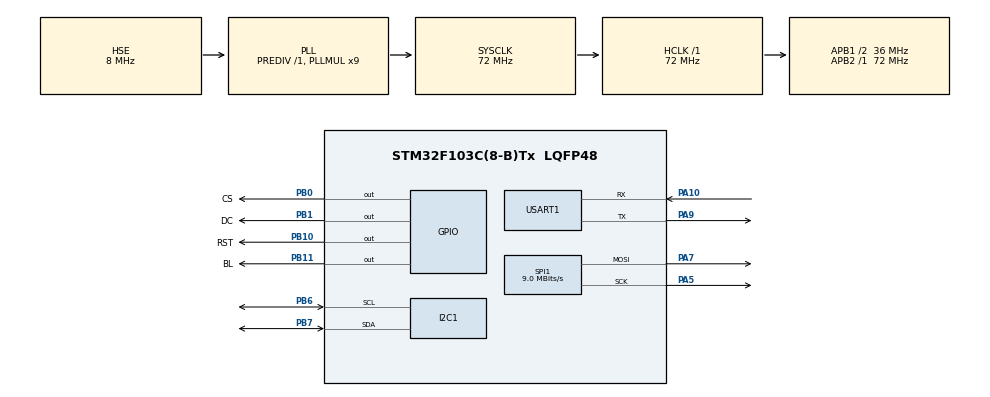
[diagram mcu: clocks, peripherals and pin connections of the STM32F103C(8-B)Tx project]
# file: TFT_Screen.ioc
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Mcu.Family=STM32F1
Mcu.Name=STM32F103C(8-B)Tx
Mcu.Package=LQFP48
NVIC.PriorityGroup=NVIC_PRIORITYGROUP_4
PA10.Mode=Asynchronous
PA10.Signal=USART1_RX
PA13.Mode=Serial_Wire
PA13.Signal=SYS_JTMS-SWDIO
PA14.Mode=Serial_Wire
PA14.Signal=SYS_JTCK-SWCLK
PA5.Mode=TX_Only_Simplex_Unidirect_Master
PA5.Signal=SPI1_SCK
PA7.Mode=TX_Only_Simplex_Unidirect_Master
PA7.Signal=SPI1_MOSI
PA9.Mode=Asynchronous
PA9.Signal=USART1_TX
PB0.GPIO_Label=CS
PB0.GPIO_Speed=GPIO_SPEED_FREQ_HIGH
PB0.PinState=GPIO_PIN_SET
PB0.Signal=GPIO_Output
PB1.GPIO_Label=DC
PB1.GPIO_PuPd=GPIO_NOPULL
PB1.GPIO_Speed=GPIO_SPEED_FREQ_HIGH
PB1.PinState=GPIO_PIN_SET
PB1.Signal=GPIO_Output
PB10.GPIO_Label=RST
PB10.GPIO_Speed=GPIO_SPEED_FREQ_HIGH
PB10.PinState=GPIO_PIN_SET
PB10.Signal=GPIO_Output
PB11.GPIO_Label=BL
PB11.GPIO_Speed=GPIO_SPEED_FREQ_HIGH
PB11.PinState=GPIO_PIN_SET
PB11.Signal=GPIO_Output
PB6.Mode=I2C
PB6.Signal=I2C1_SCL
PB7.Mode=I2C
PB7.Signal=I2C1_SDA
PD0-OSC_IN.Mode=HSE-External-Oscillator
PD0-OSC_IN.Signal=RCC_OSC_IN
PD1-OSC_OUT.Mode=HSE-External-Oscillator
PD1-OSC_OUT.Signal=RCC_OSC_OUT
ProjectManager.HeapSize=0x200
ProjectManager.StackSize=0x400
ProjectManager.TargetToolchain=STM32CubeIDE
RCC.AHBFreq_Value=72000000
RCC.APB1CLKDivider=RCC_HCLK_DIV2
RCC.APB1Freq_Value=36000000
RCC.APB1TimFreq_Value=72000000
RCC.APB2Freq_Value=72000000
RCC.APB2TimFreq_Value=72000000
RCC.HCLKFreq_Value=72000000
RCC.PLLMUL=RCC_PLL_MUL9
RCC.PLLSourceVirtual=RCC_PLLSOURCE_HSE
RCC.SYSCLKFreq_VALUE=72000000
RCC.SYSCLKSource=RCC_SYSCLKSOURCE_PLLCLK
RCC.USBFreq_Value=72000000
SPI1.BaudRatePrescaler=SPI_BAUDRATEPRESCALER_8
SPI1.CalculateBaudRate=9.0 MBits/s
SPI1.Direction=SPI_DIRECTION_2LINES
SPI1.Mode=SPI_MODE_MASTER
SPI1.VirtualType=VM_MASTER
USART1.VirtualMode=VM_ASYNC
board=custom

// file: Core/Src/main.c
/* USER CODE BEGIN Header */
/**
  ******************************************************************************
  * @file           : main.c
  * @brief          : Main program body
  ******************************************************************************
  * @attention
  *
  * Copyright (c) 2026 STMicroelectronics.
  * All rights reserved.
  *
  * This software is licensed under terms that can be found in the LICENSE file
  * in the root directory of this software component.
  * If no LICENSE file comes with this software, it is provided AS-IS.
  *
  ******************************************************************************
  */
/* USER CODE END Header */

/* USER CODE BEGIN Includes */
#include "main.h" //defines pins from CubeMX
#include "i2c.h" // defines hi2c1 and MX_I2C1_Init()
#include "spi.h" // defines hspi1 and MX_SPI1_Init()
#include "usart.h" // defines huart1 for dubugging
#include "gpio.h" // GPIO
#include "st7735.h"
#include "fonts.h"
#include <stdio.h>
#include "header_image.h"

/* USER CODE END Includes */

void SystemClock_Config(void);

/* USER CODE BEGIN 0 */
void ST7735_DrawImageTransparent(uint16_t x, uint16_t y, uint16_t w, uint16_t h, const uint16_t *data, uint16_t transparent)
{
  for (uint16_t row = 0; row < h; row++)
  {
    for (uint16_t col = 0; col < w; col++)
    {
      uint16_t color = data[row * w + col];
     // color = (color >> 8) | (color << 8);   // keep the byte swap

      if (color != transparent)              // skip transparent pixels
      {
        ST7735_DrawPixel(x + col, y + row, color);
      }
    }
  }
}

int _write(int file, char *ptr, int len)
{
  HAL_UART_Transmit(&huart1, (uint8_t*)ptr, len, HAL_MAX_DELAY);
  return len;
}

float LM75_ReadTemperature(void)
{
  uint8_t data[2];
  int16_t raw;

  if (HAL_I2C_Mem_Read(&hi2c1, 0x48 <<1, 0x00, I2C_MEMADD_SIZE_8BIT, data, 2, 1000) != HAL_OK)
    return -999.0f;

  raw = (data[0] << 8) | data[1];
  raw >>= 5;

  if (raw & 0x400)
    raw |= 0xF800;

  return raw * 0.125f;
}

/* USER CODE END 0 */

int main(void)
{

  /* MCU Configuration--------------------------------------------------------*/

  /* Reset of all peripherals, Initializes the Flash interface and the Systick. */
  HAL_Init();

  /* Configure the system clock */
  SystemClock_Config();
  /* Initialize all configured peripherals */
  MX_GPIO_Init();
  MX_SPI1_Init();
  MX_I2C1_Init();
  MX_USART1_UART_Init();
  /* USER CODE BEGIN 2 */

  HAL_GPIO_WritePin(GPIOB, GPIO_PIN_11, GPIO_PIN_SET);
  ST7735_Init();
  ST7735_InvertColors(true);
  ST7735_FillScreen(ST7735_BLACK);
  ST7735_DrawImageTransparent(0, 0, HEADER_W, HEADER_H, header_logo, ST7735_BLACK);
  ST7735_WriteString(30,37, "Temperature", Font_7x10, ST7735_WHITE, ST7735_BLACK);

char lastC[16] = "        "; // spaces
char lastF[16] = "        ";
char lastK[16] = "        ";

// Used for I2C error
//  char buf[20];
//  uint8_t y = 30;
//  uint8_t found = 0;
//
//  for (uint8_t addr = 1; addr < 128; addr++)
//  {
//    if (HAL_I2C_IsDeviceReady(&hi2c1, addr << 1, 2, 10) == HAL_OK)
//    {
//      sprintf(buf, "0x%02X", addr);
//      ST7735_WriteString(5, y, buf, Font_11x18, ST7735_GREEN, ST7735_BLACK);
//      y += 20;
//      found++;
//      if (y > 140) break;   // don't run off the screen
//    }
//  }

//  if (found == 0)
//  {
//    ST7735_WriteString(5, 30, "None found", Font_11x18, ST7735_RED, ST7735_BLACK);
//  }

    /* USER CODE END 2 */

  /* Infinite loop */
  /* USER CODE BEGIN WHILE */
  while (1)
  {
	  float tempC = LM75_ReadTemperature();

	    if (tempC > -100.0f)
	    {
	      float tempF = tempC * 9.0f / 5.0f + 32.0f;
	      float tempK = tempC + 273.15f;

	      char bufC[16], bufF[16], bufK[16];
	      sprintf(bufC, "%5.1f C", tempC);
	      sprintf(bufF, "%5.1f F", tempF);
	      sprintf(bufK, "%5.1f K", tempK);

	      // Update only changed digits for Celsius
	      for (int i = 0; i < 8; i++)
	      {
	        if (bufC[i] != lastC[i])
	        {
	          ST7735_FillRectangle(10 + i * 12, 50, 12, 18, ST7735_BLACK);
	          char s[2] = { bufC[i], '\0' };
	          ST7735_WriteString(10 + i * 12, 50, s, Font_11x18, ST7735_WHITE, ST7735_BLACK);
	          lastC[i] = bufC[i];
	        }
	      }

	      // Fahrenheit
	      for (int i = 0; i < 8; i++)
	      {
	        if (bufF[i] != lastF[i])
	        {
	          ST7735_FillRectangle(10 + i * 12, 90, 12, 18, ST7735_BLACK);
	          char s[2] = { bufF[i], '\0' };
	          ST7735_WriteString(10 + i * 12, 90, s, Font_11x18, ST7735_WHITE, ST7735_BLACK);
	          lastF[i] = bufF[i];
	        }
	      }

	      // Kelvin
	      for (int i = 0; i < 8; i++)
	      {
	        if (bufK[i] != lastK[i])
	        {
	          ST7735_FillRectangle(10 + i * 12, 130, 12, 18, ST7735_BLACK);
	          char s[2] = { bufK[i], '\0' };
	          ST7735_WriteString(10 + i * 12, 130, s, Font_11x18, ST7735_WHITE, ST7735_BLACK);
	          lastK[i] = bufK[i];
	        }
	      }
	    }

	    HAL_Delay(500);

  }
    /* USER CODE END WHILE */
}

void SystemClock_Config(void)
{
  RCC_OscInitTypeDef RCC_OscInitStruct = {0};
  RCC_ClkInitTypeDef RCC_ClkInitStruct = {0};

  /** Initializes the RCC Oscillators according to the specified parameters
  * in the RCC_OscInitTypeDef structure.
  */
  RCC_OscInitStruct.OscillatorType = RCC_OSCILLATORTYPE_HSE;
  RCC_OscInitStruct.HSEState = RCC_HSE_ON;
  RCC_OscInitStruct.HSEPredivValue = RCC_HSE_PREDIV_DIV1;
  RCC_OscInitStruct.HSIState = RCC_HSI_ON;
  RCC_OscInitStruct.PLL.PLLState = RCC_PLL_ON;
  RCC_OscInitStruct.PLL.PLLSource = RCC_PLLSOURCE_HSE;
  RCC_OscInitStruct.PLL.PLLMUL = RCC_PLL_MUL9;
  if (HAL_RCC_OscConfig(&RCC_OscInitStruct) != HAL_OK)
  {
    Error_Handler();
  }

  /** Initializes the CPU, AHB and APB buses clocks
  */
  RCC_ClkInitStruct.ClockType = RCC_CLOCKTYPE_HCLK|RCC_CLOCKTYPE_SYSCLK
                              |RCC_CLOCKTYPE_PCLK1|RCC_CLOCKTYPE_PCLK2;
  RCC_ClkInitStruct.SYSCLKSource = RCC_SYSCLKSOURCE_PLLCLK;
  RCC_ClkInitStruct.AHBCLKDivider = RCC_SYSCLK_DIV1;
  RCC_ClkInitStruct.APB1CLKDivider = RCC_HCLK_DIV2;
  RCC_ClkInitStruct.APB2CLKDivider = RCC_HCLK_DIV1;

  if (HAL_RCC_ClockConfig(&RCC_ClkInitStruct, FLASH_LATENCY_2) != HAL_OK)
  {
    Error_Handler();
  }
}

void Error_Handler(void)
{
  __disable_irq();
  while (1)
  {
  }
}
  /* USER CODE END Error_Handler_Debug */
